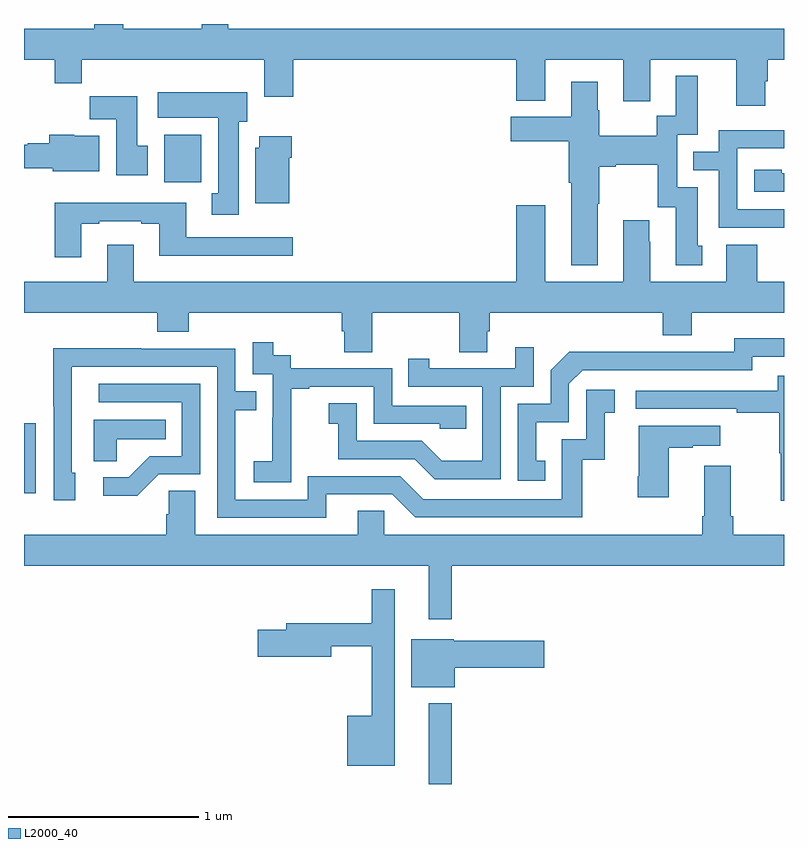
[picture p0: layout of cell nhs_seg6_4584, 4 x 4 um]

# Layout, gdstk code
import gdstk
lib = gdstk.Library(unit=1e-6, precision=1e-09)
def R(c, l, rs):  # rectangles x0, y0, x1, y1
    for r in rs: c.add(gdstk.rectangle(r[:2], r[2:], *l))
def P(c, l, *ps):  # polygons
    for p in ps: c.add(gdstk.Polygon(p, *l))
L2000_40 = (2000, 40)

nhs_seg6_4584 = lib.new_cell('nhs_seg6_4584')
R(nhs_seg6_4584, L2000_40, [(383.129,967.5,383.251,967.924), (381,969.03,381.063,969.4), (381.737,970.668,381.933,970.918)])
P(nhs_seg6_4584, L2000_40, [(384.901,971.199),(384.914,971.199),(384.914,971.312),(385,971.312),(385,971.476),(382.075,971.476),(382.075,971.5),(381.935,971.5),(381.935,971.476),(381.523,971.476),(381.523,971.5),(381.371,971.5),(381.371,971.476),(381,971.476),(381,971.312),(381.161,971.312),(381.161,971.188),(381.305,971.188),(381.305,971.312),(382.265,971.312),(382.265,971.118),(382.418,971.118),(382.418,971.312),(383.591,971.312),(383.591,971.096),(383.743,971.096),(383.743,971.312),(384.155,971.312),(384.155,971.094),(384.295,971.094),(384.295,971.312),(384.749,971.312),(384.749,971.07),(384.901,971.07)],
  [(384.019,970.555),(384.027,970.555),(384.027,970.748),(384.115,970.748),(384.115,970.76),(384.335,970.76),(384.335,970.536),(384.431,970.536),(384.431,970.23),(384.571,970.23),(384.571,970.332),(384.547,970.332),(384.547,970.641),(384.438,970.641),(384.438,970.917),(384.547,970.917),(384.547,971.227),(384.431,971.227),(384.431,971.018),(384.33,971.018),(384.33,970.912),(384.027,970.912),(384.027,971.046),(384.019,971.046),(384.019,971.197),(383.879,971.197),(383.879,971.011),(383.562,971.011),(383.562,970.882),(383.867,970.882),(383.867,970.664),(383.879,970.664),(383.879,970.229),(384.019,970.229)],
  [(382.129,970.986),(382.174,970.986),(382.174,971.14),(381.705,971.14),(381.705,971.006),(382.022,971.006),(382.022,970.609),(381.989,970.609),(381.989,970.497),(382.129,970.497)],
  [(381.652,970.86),(381.595,970.86),(381.595,971.119),(381.346,971.119),(381.346,971),(381.485,971),(381.485,970.704),(381.652,970.704)],
  [(385,970.524),(384.753,970.524),(384.753,970.845),(385,970.845),(385,970.941),(384.657,970.941),(384.657,970.827),(384.523,970.827),(384.523,970.731),(384.657,970.731),(384.657,970.428),(385,970.428)],
  [(381.397,970.912),(381.264,970.912),(381.264,970.918),(381.134,970.918),(381.134,970.872),(381.02,970.872),(381.02,970.864),(381,970.864),(381,970.742),(381.15,970.742),(381.15,970.724),(381.397,970.724)],
  [(382.396,970.796),(382.409,970.796),(382.409,970.909),(382.238,970.909),(382.238,970.848),(382.217,970.848),(382.217,970.556),(382.396,970.556)],
  [(385,970.714),(384.987,970.714),(384.987,970.732),(384.843,970.732),(384.843,970.617),(385,970.617)],
  [(381.301,970.449),(381.397,970.449),(381.397,970.461),(381.617,970.461),(381.617,970.449),(381.713,970.449),(381.713,970.28),(382.414,970.28),(382.414,970.377),(381.853,970.377),(381.853,970.558),(381.161,970.558),(381.161,970.272),(381.301,970.272)],
  [(382.833,969.98),(383.29,969.98),(383.29,969.772),(383.437,969.772),(383.437,969.882),(383.45,969.882),(383.45,969.98),(384.362,969.98),(384.362,969.863),(384.514,969.863),(384.514,969.98),(385,969.98),(385,970.144),(384.859,970.144),(384.859,970.339),(384.695,970.339),(384.695,970.144),(384.295,970.144),(384.295,970.355),(384.292,970.355),(384.292,970.468),(384.155,970.468),(384.155,970.144),(383.743,970.144),(383.743,970.546),(383.591,970.546),(383.591,970.144),(381.577,970.144),(381.577,970.339),(381.437,970.339),(381.437,970.144),(381,970.144),(381,969.98),(381.701,969.98),(381.701,969.881),(381.866,969.881),(381.866,969.98),(382.673,969.98),(382.673,969.882),(382.685,969.882),(382.685,969.772),(382.833,969.772)],
  [(383.744,969.201),(383.695,969.201),(383.695,969.405),(383.868,969.405),(383.868,969.606),(383.94,969.678),(384.834,969.678),(384.834,969.75),(385,969.75),(385,969.847),(384.738,969.847),(384.738,969.774),(384.278,969.774),(384.278,969.776),(383.87,969.776),(383.772,969.678),(383.772,969.501),(383.598,969.501),(383.598,969.096),(383.744,969.096)],
  [(382.407,969.295),(382.406,969.295),(382.406,969.579),(382.501,969.579),(382.501,969.591),(382.842,969.591),(382.842,969.396),(383.187,969.396),(383.187,969.369),(383.327,969.369),(383.327,969.492),(382.938,969.492),(382.938,969.687),(382.404,969.687),(382.404,969.756),(382.312,969.756),(382.312,969.826),(382.203,969.826),(382.203,969.657),(382.308,969.657),(382.308,969.428),(382.307,969.428),(382.307,969.199),(382.209,969.199),(382.209,969.089),(382.407,969.089)],
  [(383.508,969.591),(383.682,969.591),(383.682,969.799),(383.585,969.799),(383.585,969.687),(383.134,969.687),(383.134,969.739),(383.023,969.739),(383.023,969.591),(383.412,969.591),(383.412,969.202),(383.198,969.202),(383.094,969.306),(382.752,969.306),(382.752,969.505),(382.605,969.505),(382.605,969.395),(382.654,969.395),(382.654,969.21),(383.057,969.21),(383.162,969.105),(383.508,969.105)],
  [(382.591,969.024),(382.938,969.024),(383.058,968.904),(383.938,968.904),(383.938,969.207),(384.056,969.207),(384.056,969.453),(384.109,969.453),(384.109,969.574),(383.958,969.574),(383.958,969.315),(383.829,969.315),(383.829,969),(383.1,969),(382.98,969.12),(382.494,969.12),(382.494,968.997),(382.113,968.997),(382.113,969.466),(382.223,969.466),(382.223,969.567),(382.113,969.567),(382.113,969.792),(381.617,969.792),(381.617,969.794),(381.154,969.794),(381.154,969.487),(381.156,969.487),(381.156,968.994),(381.271,968.994),(381.271,969.138),(381.252,969.138),(381.252,969.696),(382.017,969.696),(382.017,968.901),(382.591,968.901)],
  [(385,969.649),(384.967,969.649),(384.967,969.57),(384.219,969.57),(384.219,969.474),(384.751,969.474),(384.751,969.454),(384.975,969.454),(384.975,969.24),(384.982,969.24),(384.982,968.991),(385,968.991)],
  [(381.708,969.129),(381.927,969.129),(381.927,969.606),(381.393,969.606),(381.393,969.51),(381.831,969.51),(381.831,969.225),(381.662,969.225),(381.551,969.114),(381.417,969.114),(381.417,969.017),(381.595,969.017)],
  [(381.489,969.314),(381.746,969.314),(381.746,969.418),(381.368,969.418),(381.368,969.199),(381.489,969.199)],
  [(384.394,969.271),(384.521,969.271),(384.521,969.281),(384.664,969.281),(384.664,969.385),(384.236,969.385),(384.236,969.121),(384.229,969.121),(384.229,969.009),(384.394,969.009)],
  [(383.251,968.648),(385,968.648),(385,968.812),(384.734,968.812),(384.734,968.908),(384.721,968.908),(384.721,969.175),(384.581,969.175),(384.581,968.908),(384.569,968.908),(384.569,968.812),(382.896,968.812),(382.896,968.939),(382.757,968.939),(382.757,968.812),(381.901,968.812),(381.901,969.044),(381.762,969.044),(381.762,968.921),(381.749,968.921),(381.749,968.812),(381,968.812),(381,968.648),(383.129,968.648),(383.129,968.367),(383.251,968.367)],
  [(382.951,968.524),(382.83,968.524),(382.83,968.347),(382.379,968.347),(382.379,968.313),(382.23,968.313),(382.23,968.171),(382.618,968.171),(382.618,968.226),(382.83,968.226),(382.83,967.858),(382.7,967.858),(382.7,967.595),(382.951,967.595)],
  [(383.266,968.111),(383.737,968.111),(383.737,968.253),(383.262,968.253),(383.262,968.263),(383.039,968.263),(383.039,968.009),(383.266,968.009)])

lib.write_gds('nhs_seg6_4584.gds')
